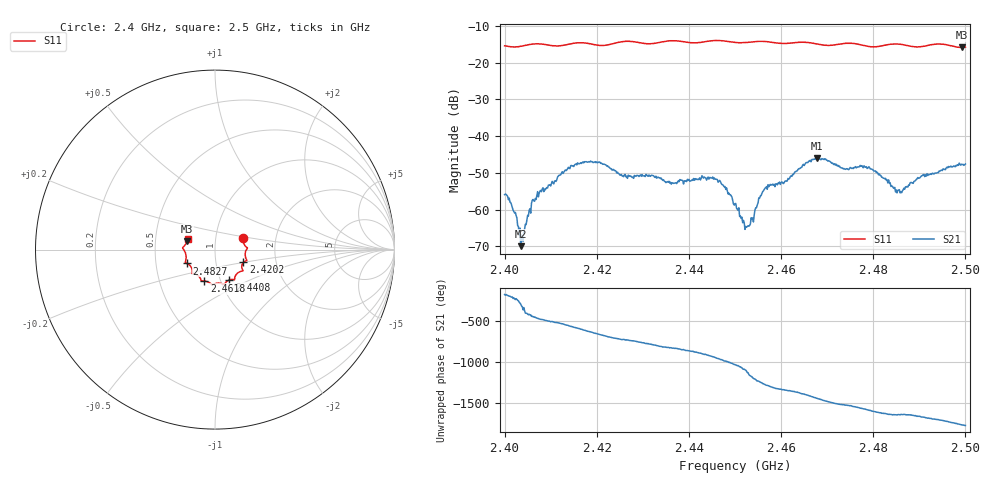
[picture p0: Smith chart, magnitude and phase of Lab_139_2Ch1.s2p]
# Hz S RI R 50
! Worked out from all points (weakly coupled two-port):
!   601 points, 2.4 GHz to 2.5 GHz, reference 50 ohm
!   highest |S21| = -46.04 dB at 2.4678 GHz (marker M1); lowest = -70.0 dB at 2.4035 GHz (marker M2)
!   lowest |S11| = -15.8 dB at 2.4992 GHz (marker M3), VSWR 1.39, Z = 36.5 + j3.66 ohm
!   |S11| at or under -10 dB: start of sweep to end of sweep
!   S12 and S22 are empty: the file has one direction only
!   S11 on the Smith chart (normalised r, x): 2.4 GHz: 1.36, +0.18; 2.4202 GHz: 1.36, -0.20; 2.4408 GHz: 1.10, -0.39; 2.4618 GHz: 0.84, -0.30; 2.4827 GHz: 0.72, -0.11; 2.5 GHz: 0.73, +0.09
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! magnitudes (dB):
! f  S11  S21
! 2.4 GHz  -15.4  -56.0
! 2.4022 GHz  -15.7  -60.9
! 2.4035 GHz  -15.5  -70.0
! 2.4077 GHz  -14.9  -55.0
! 2.4167 GHz  -14.5  -47.4
! 2.4202 GHz  -15.2  -47.2
! 2.4253 GHz  -14.3  -50.4
! 2.4333 GHz  -14.5  -51.2
! 2.4408 GHz  -14.6  -52.1
! 2.4463 GHz  -13.9  -52.6
! 2.45 GHz  -14.5  -58.4
! 2.4527 GHz  -14.5  -64.6
! 2.4563 GHz  -14.2  -54.6
! 2.4618 GHz  -14.7  -51.5
! 2.4667 GHz  -14.6  -46.4
! 2.4678 GHz  -14.9  -46.0
! 2.4787 GHz  -15.5  -48.8
! 2.4827 GHz  -15.2  -51.5
! 2.4833 GHz  -15.0  -51.9
! 2.4863 GHz  -15.0  -54.9
! 2.4992 GHz  -15.8  -47.6
! 2.5 GHz  -15.7  -47.6
